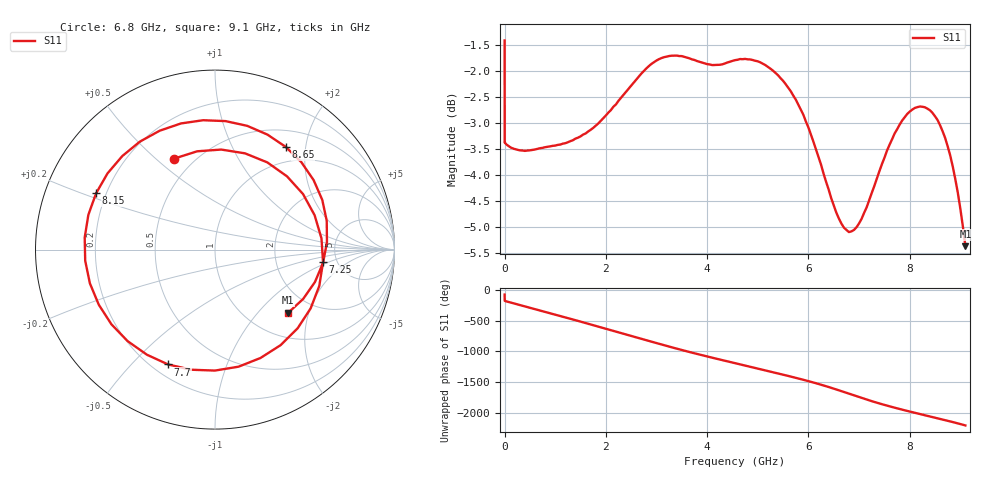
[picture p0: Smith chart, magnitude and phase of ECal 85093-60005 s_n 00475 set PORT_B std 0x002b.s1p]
!Created with skrf (http://scikit-rf.org).
# Hz S RI R 50.0
!freq ReS11 ImS11
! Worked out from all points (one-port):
!   252 points, 30 kHz to 9.1 GHz, reference 50 ohm
!   lowest |S11| = -5.4 dB at 9.1 GHz (marker M1), VSWR 3.34, Z = 74.8 - j74.2 ohm
!   |S11| at or under -10 dB: nowhere
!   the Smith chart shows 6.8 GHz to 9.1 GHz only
!   S11 on the Smith chart (normalised r, x): 6.8 GHz: 0.39, +0.57; 7.25 GHz: 3.87, -0.86; 7.7 GHz: 0.26, -0.64; 8.15 GHz: 0.16, +0.22; 8.65 GHz: 0.74, +1.65; 9.1 GHz: 1.50, -1.48
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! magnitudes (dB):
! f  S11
! 30 kHz  -1.4
! 58 kHz  -2.4
! 84 kHz  -2.9
! 200 kHz  -3.3
! 1.95 MHz  -3.4
! 400 MHz  -3.5
! 1.15 GHz  -3.4
! 1.75 GHz  -3.1
! 2.3 GHz  -2.5
! 2.9 GHz  -1.9
! 3.45 GHz  -1.7
! 4.1 GHz  -1.9
! 4.6 GHz  -1.8
! 5.15 GHz  -1.9
! 5.7 GHz  -2.5
! 6 GHz  -3.1
! 6.55 GHz  -4.7
! 6.8 GHz  -5.1
! 6.85 GHz  -5.1
! 7.05 GHz  -4.8
! 7.25 GHz  -4.4
! 7.7 GHz  -3.2
! 8 GHz  -2.8
! 8.15 GHz  -2.7
! 8.4 GHz  -2.8
! 8.65 GHz  -3.2
! 8.9 GHz  -4.1
! 9.1 GHz  -5.4
